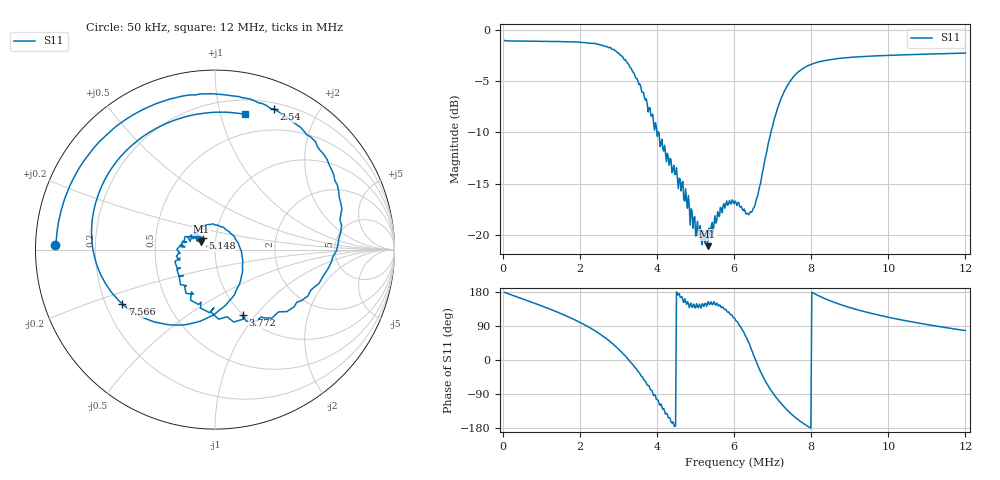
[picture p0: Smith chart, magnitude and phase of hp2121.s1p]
# Hz S RI R 50
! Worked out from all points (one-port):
!   505 points, 50 kHz to 12 MHz, reference 50 ohm
!   lowest |S11| = -21.1 dB at 5.314 MHz (marker M1), VSWR 1.19, Z = 42.8 + j3.76 ohm
!   |S11| at or under -10 dB: 3.999 MHz to 4.029 MHz (29.86 kHz wide, 0.744 % of centre); 4.044 MHz to 6.956 MHz (2.912 MHz wide, 52.9 % of centre)
!   S11 on the Smith chart (normalised r, x): 50 kHz: 0.06, +0.02; 2.54 MHz: 0.26, +1.47; 3.772 MHz: 0.99, -0.87; 5.148 MHz: 0.86, +0.11; 7.566 MHz: 0.27, -0.25; 12 MHz: 0.32, +1.19
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50000  -0.8898 0.0269
832400  -0.761 0.4468
1567400  -0.4396 0.7597
2112700  -0.0531 0.8679
2539510  0.3269 0.7824
2824010  0.5722 0.57
3061110  0.6921 0.2929
3369310  0.6153 -0.1283
3559010  0.4412 -0.3189
3772410  0.1556 -0.3665
3938410  -0.006 -0.3244
4175510  -0.159 -0.2013
4554810  -0.1674 0.0145
5147620  -0.069 0.0649
5313620  -0.0763 0.0436
5692920  -0.097 0.0837
6024920  -0.0469 0.1382
6475320  0.1209 0.049
6807320  0.1361 -0.1931
7186620  -0.1567 -0.4175
7542330  -0.5 -0.3167
7566030  -0.5173 -0.3023
7826830  -0.6452 -0.1205
8111330  -0.6878 0.0757
9036030  -0.5417 0.4991
9723640  -0.3636 0.6546
1.052974e7  -0.1592 0.7413
1.199984e7  0.1658 0.7542
